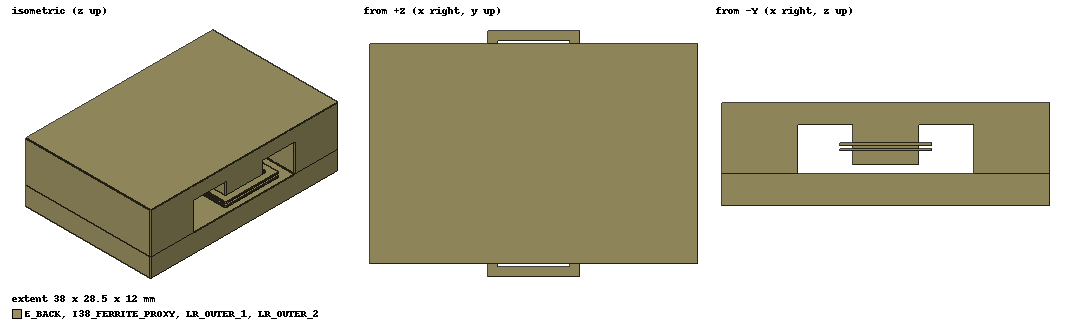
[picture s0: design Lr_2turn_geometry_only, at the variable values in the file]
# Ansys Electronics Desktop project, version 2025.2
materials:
  vacuum: permittivity=1
  ferrite: permittivity=12 permeability=1000 conductivity=0.01
  copper: permeability=0.999991 conductivity=58000000

design Lr_2turn_geometry_only (Maxwell 3D, Magnetostatic, model units mm)
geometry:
  I38_FERRITE_PROXY [ferrite] = box(corner=(-19mm, -12.7mm, 0mm), size=(38mm, 25.4mm, 3.75mm))
  E_BACK [ferrite] = box(corner=(-19mm, -12.7mm, 9.4mm), size=(38mm, 25.4mm, 2.6mm))
  E_LEFT = box(corner=(-19mm, -12.7mm, 3.75mm), size=(8.83mm, 25.4mm, 5.65mm))
  E_RIGHT = box(corner=(10.17mm, -12.7mm, 3.75mm), size=(8.83mm, 25.4mm, 5.65mm))
  E_CENTRE = box(corner=(-3.82mm, -12.7mm, 4.781mm), size=(7.64mm, 25.4mm, 4.619mm))
  E_BACK.unite(E_LEFT, E_RIGHT, E_CENTRE)
  LR_OUTER_1 [copper] = box(corner=(-5.37mm, -14.25mm, 6.35mm), size=(10.74mm, 28.5mm, 0.3mm))
  LR_VOID_1 = box(corner=(-4.17mm, -13.05mm, 6.3mm), size=(8.34mm, 26.1mm, 0.4mm))
  LR_OUTER_1.subtract(LR_VOID_1)
  LR_OUTER_2 [copper] = box(corner=(-5.37mm, -14.25mm, 7.03mm), size=(10.74mm, 28.5mm, 0.3mm))
  LR_VOID_2 = box(corner=(-4.17mm, -13.05mm, 6.98mm), size=(8.34mm, 26.1mm, 0.4mm))
  LR_OUTER_2.subtract(LR_VOID_2)
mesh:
  initial mesh: GlobalCurvilinear{Apply}
